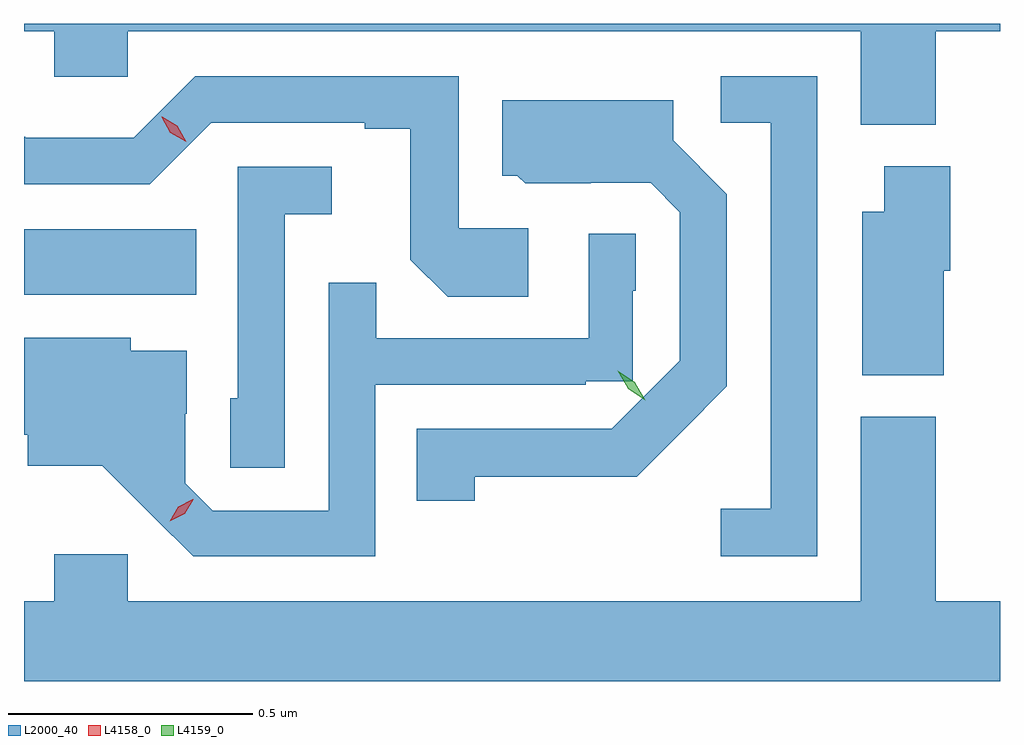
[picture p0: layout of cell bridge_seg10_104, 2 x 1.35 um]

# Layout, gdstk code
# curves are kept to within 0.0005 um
import gdstk
lib = gdstk.Library(unit=1e-6, precision=1e-09)
def R(c, l, rs):  # rectangles x0, y0, x1, y1
    for r in rs: c.add(gdstk.rectangle(r[:2], r[2:], *l))
def P(c, l, *ps):  # polygons
    for p in ps: c.add(gdstk.Polygon(p, *l))
L2000_40 = (2000, 40)
L4158_0 = (4158, 0)
L4159_0 = (4159, 0)

bridge_seg10_104 = lib.new_cell('bridge_seg10_104')
R(bridge_seg10_104, L2000_40, [(497.265,1309.1,497.618,1309.234)])
P(bridge_seg10_104, L2000_40, [(499.133,1309.64),(499.265,1309.64),(499.265,1309.655),(497.265,1309.655),(497.265,1309.64),(497.327,1309.64),(497.327,1309.547),(497.478,1309.547),(497.478,1309.64),(498.98,1309.64),(498.98,1309.448),(499.133,1309.448)],
  [(498.891,1309.548),(498.693,1309.548),(498.693,1309.452),(498.795,1309.452),(498.795,1308.661),(498.693,1308.661),(498.693,1308.564),(498.891,1308.564)],
  [(498.298,1309.236),(498.156,1309.236),(498.156,1309.548),(497.616,1309.548),(497.49,1309.422),(497.268,1309.422),(497.268,1309.424),(497.265,1309.424),(497.265,1309.326),(497.523,1309.326),(497.649,1309.452),(497.963,1309.452),(497.963,1309.44),(498.057,1309.44),(498.057,1309.172),(498.133,1309.096),(498.298,1309.096)],
  [(498.189,1308.727),(498.521,1308.727),(498.705,1308.912),(498.705,1309.306),(498.595,1309.416),(498.595,1309.498),(498.245,1309.498),(498.245,1309.344),(498.276,1309.344),(498.292,1309.328),(498.426,1309.328),(498.426,1309.329),(498.549,1309.329),(498.609,1309.269),(498.609,1308.965),(498.469,1308.825),(498.07,1308.825),(498.07,1308.678),(498.189,1308.678)],
  [(499.15,1309.149),(499.163,1309.149),(499.163,1309.363),(499.028,1309.363),(499.028,1309.27),(498.983,1309.27),(498.983,1308.935),(499.15,1308.935)],
  [(497.799,1309.265),(497.896,1309.265),(497.896,1309.362),(497.703,1309.362),(497.703,1308.888),(497.688,1308.888),(497.688,1308.745),(497.799,1308.745)],
  [(497.985,1308.915),(498.416,1308.915),(498.416,1308.923),(498.512,1308.923),(498.512,1309.108),(498.519,1309.108),(498.519,1309.225),(498.422,1309.225),(498.422,1309.011),(497.987,1309.011),(497.987,1309.124),(497.889,1309.124),(497.889,1308.657),(497.652,1308.657),(497.595,1308.714),(497.595,1308.856),(497.599,1308.856),(497.599,1308.985),(497.484,1308.985),(497.484,1309.012),(497.265,1309.012),(497.265,1308.813),(497.273,1308.813),(497.273,1308.749),(497.425,1308.749),(497.612,1308.564),(497.985,1308.564)],
  [(499.265,1308.472),(499.133,1308.472),(499.133,1308.85),(498.98,1308.85),(498.98,1308.472),(497.478,1308.472),(497.478,1308.568),(497.327,1308.568),(497.327,1308.472),(497.265,1308.472),(497.265,1308.308),(499.265,1308.308)])
P(bridge_seg10_104, L4158_0, [(497.564,1308.636),(497.564,1308.636),(497.581,1308.665),(497.611,1308.681),(497.612,1308.681),(497.612,1308.68),(497.594,1308.651),(497.564,1308.636)],
  [(497.597,1309.413),(497.565,1309.432),(497.547,1309.464),(497.547,1309.465),(497.548,1309.465),(497.579,1309.446),(497.597,1309.413),(497.597,1309.413)])
P(bridge_seg10_104, L4159_0, [(498.538,1308.884),(498.503,1308.907),(498.482,1308.944),(498.482,1308.944),(498.482,1308.944),(498.517,1308.921),(498.538,1308.884),(498.538,1308.884)])

lib.write_gds('bridge_seg10_104.gds')
